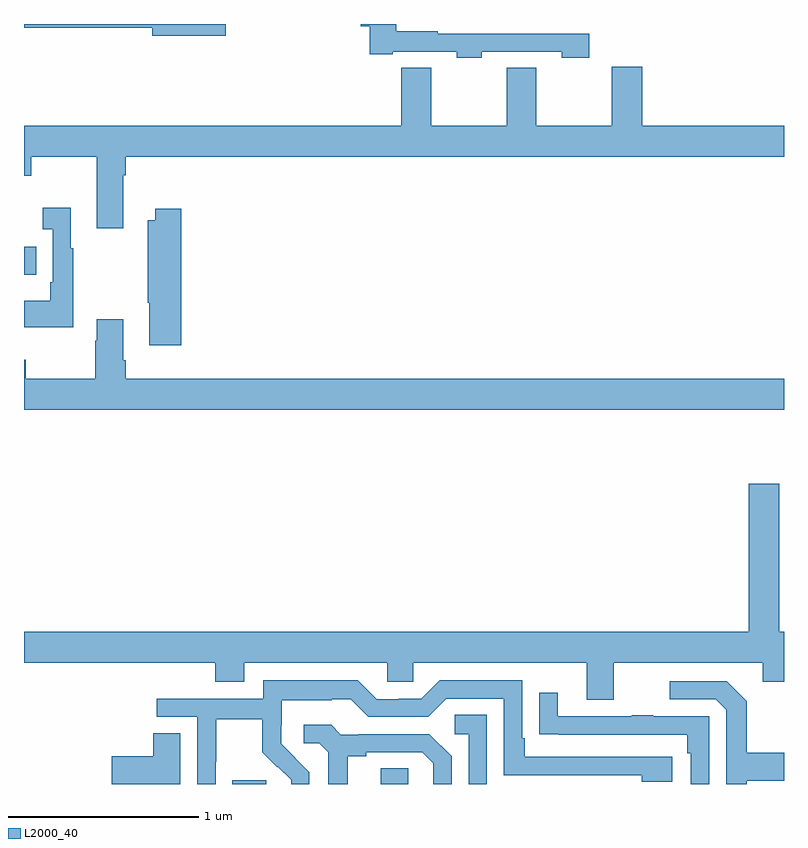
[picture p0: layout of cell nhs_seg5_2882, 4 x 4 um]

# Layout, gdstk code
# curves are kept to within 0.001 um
import gdstk
lib = gdstk.Library(unit=1e-6, precision=1e-09)
def R(c, l, rs):  # rectangles x0, y0, x1, y1
    for r in rs: c.add(gdstk.rectangle(r[:2], r[2:], *l))
def P(c, l, *ps):  # polygons
    for p in ps: c.add(gdstk.Polygon(p, *l))
L2000_40 = (2000, 40)

nhs_seg5_2882 = lib.new_cell('nhs_seg5_2882')
R(nhs_seg5_2882, L2000_40, [(280.097,846.799,280.276,846.819), (280.877,846.799,281.022,846.881), (279,849.479,279.065,849.627)])
P(nhs_seg5_2882, L2000_40, [(280.063,850.799),(279,850.799),(279,850.78),(279.674,850.78),(279.674,850.738),(280.063,850.738)],
  [(281.409,850.653),(281.829,850.653),(281.829,850.621),(281.974,850.621),(281.974,850.749),(281.177,850.749),(281.177,850.762),(280.96,850.762),(280.96,850.799),(280.772,850.799),(280.772,850.787),(280.821,850.787),(280.821,850.641),(280.942,850.641),(280.942,850.653),(281.277,850.653),(281.277,850.621),(281.409,850.621)],
  [(283,850.264),(282.254,850.264),(282.254,850.573),(282.094,850.573),(282.094,850.264),(281.696,850.264),(281.696,850.568),(281.542,850.568),(281.542,850.264),(281.144,850.264),(281.144,850.568),(280.985,850.568),(280.985,850.264),(279,850.264),(279,850.001),(279.039,850.001),(279.039,850.1),(279.383,850.1),(279.383,849.723),(279.523,849.723),(279.523,850.004),(279.536,850.004),(279.536,850.1),(283,850.1)],
  [(279.259,849.619),(279.247,849.619),(279.247,849.832),(279.099,849.832),(279.099,849.719),(279.15,849.719),(279.15,849.439),(279.138,849.439),(279.138,849.343),(279,849.343),(279,849.203),(279.259,849.203)],
  [(279.827,849.826),(279.692,849.826),(279.692,849.766),(279.652,849.766),(279.652,849.331),(279.659,849.331),(279.659,849.108),(279.827,849.108)],
  [(283,848.932),(279.536,848.932),(279.536,849.028),(279.523,849.028),(279.523,849.244),(279.383,849.244),(279.383,849.131),(279.376,849.131),(279.376,848.932),(279.009,848.932),(279.009,849.031),(279,849.031),(279,848.768),(283,848.768)],
  [(279,847.436),(280.007,847.436),(280.007,847.337),(280.159,847.337),(280.159,847.436),(280.911,847.436),(280.911,847.338),(281.049,847.338),(281.049,847.436),(281.963,847.436),(281.963,847.242),(282.103,847.242),(282.103,847.436),(282.887,847.436),(282.887,847.337),(283,847.337),(283,847.6),(282.975,847.6),(282.975,848.38),(282.815,848.38),(282.815,847.6),(279,847.6)],
  [(280.008,846.916),(280.011,846.916),(280.011,847.14),(280.255,847.14),(280.255,846.965),(280.332,846.888),(280.335,846.891),(280.406,846.821),(280.406,846.799),(280.5,846.799),(280.5,846.862),(280.354,847.01),(280.354,847.107),(280.356,847.107),(280.356,847.241),(280.619,847.241),(280.619,847.245),(280.719,847.245),(280.812,847.152),(281.127,847.152),(281.223,847.248),(281.526,847.248),(281.526,846.846),(282.251,846.846),(282.251,846.812),(282.412,846.812),(282.412,846.942),(281.635,846.942),(281.635,847.039),(281.622,847.039),(281.622,847.344),(281.187,847.344),(281.091,847.248),(280.973,847.248),(280.973,847.245),(280.857,847.245),(280.757,847.345),(280.26,847.345),(280.26,847.248),(279.699,847.248),(279.699,847.152),(279.912,847.152),(279.912,846.799),(280.008,846.799)],
  [(282.805,846.815),(283,846.815),(283,846.963),(282.805,846.963),(282.805,847.235),(282.699,847.341),(282.399,847.341),(282.399,847.245),(282.642,847.245),(282.696,847.191),(282.696,846.799),(282.805,846.799)],
  [(282.606,847.155),(282.311,847.155),(282.311,847.16),(282.199,847.16),(282.199,847.155),(281.809,847.155),(281.809,847.279),(281.713,847.279),(281.713,847.06),(281.815,847.06),(281.815,847.059),(282.49,847.059),(282.49,846.962),(282.51,846.962),(282.51,846.799),(282.606,846.799)],
  [(281.436,847.163),(281.268,847.163),(281.268,847.062),(281.34,847.062),(281.34,846.799),(281.436,846.799)],
  [(280.705,846.944),(280.801,846.944),(280.801,846.966),(281.096,846.966),(281.153,846.909),(281.153,846.799),(281.25,846.799),(281.25,846.946),(281.134,847.062),(280.762,847.062),(280.762,847.059),(280.668,847.059),(280.616,847.111),(280.473,847.111),(280.473,847.014),(280.554,847.014),(280.601,846.967),(280.601,846.799),(280.705,846.799)],
  [(279.823,847.067),(279.68,847.067),(279.68,846.944),(279.462,846.944),(279.462,846.799),(279.823,846.799)])

lib.write_gds('nhs_seg5_2882.gds')
